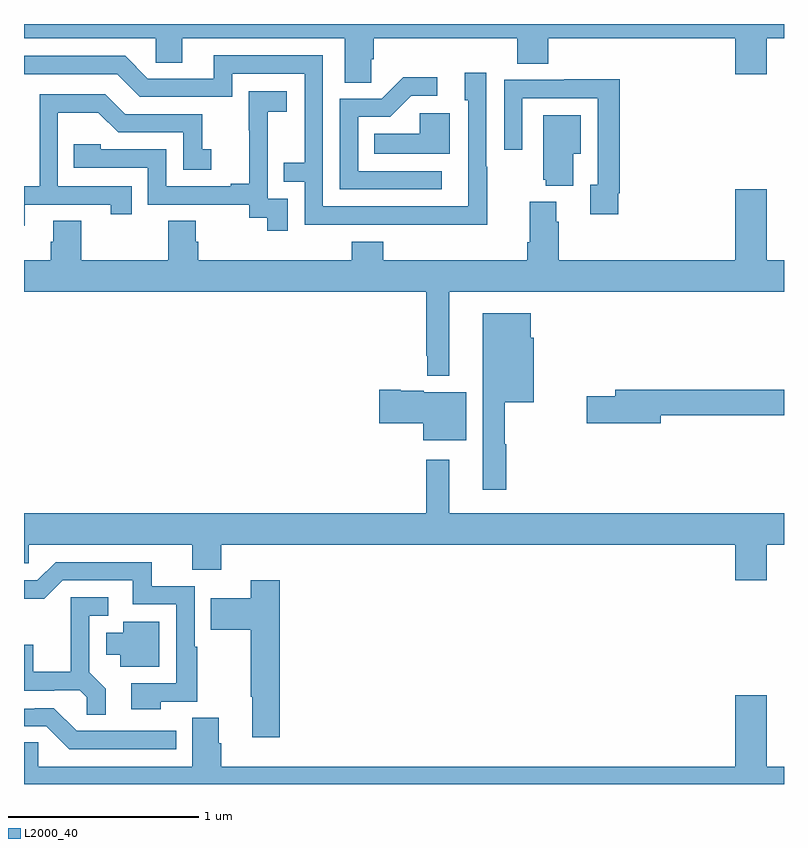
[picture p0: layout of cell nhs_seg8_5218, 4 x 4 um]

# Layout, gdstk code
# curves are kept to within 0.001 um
import gdstk
lib = gdstk.Library(unit=1e-6, precision=1e-09)
def P(c, l, *ps):  # polygons
    for p in ps: c.add(gdstk.Polygon(p, *l))
L2000_40 = (2000, 40)

nhs_seg8_5218 = lib.new_cell('nhs_seg8_5218')
P(nhs_seg8_5218, L2000_40, [(426.828,1125.715),(426.842,1125.715),(426.842,1125.824),(427.595,1125.824),(427.595,1125.691),(427.76,1125.691),(427.76,1125.824),(428.744,1125.824),(428.744,1125.636),(428.908,1125.636),(428.908,1125.824),(429,1125.824),(429,1125.9),(425,1125.9),(425,1125.824),(425.694,1125.824),(425.694,1125.697),(425.833,1125.697),(425.833,1125.824),(426.689,1125.824),(426.689,1125.592),(426.828,1125.592)],
  [(427.437,1125.149),(427.434,1125.149),(427.434,1125.643),(427.319,1125.643),(427.319,1125.498),(427.338,1125.498),(427.337,1124.94),(426.573,1124.94),(426.573,1125.735),(425.999,1125.735),(425.999,1125.612),(425.652,1125.612),(425.532,1125.732),(425,1125.732),(425,1125.636),(425.49,1125.636),(425.61,1125.516),(426.096,1125.516),(426.096,1125.639),(426.477,1125.639),(426.477,1125.17),(426.367,1125.17),(426.367,1125.069),(426.477,1125.069),(426.477,1124.844),(427.437,1124.843)],
  [(427.198,1125.126),(426.759,1125.126),(426.759,1125.411),(426.928,1125.411),(427.039,1125.522),(427.174,1125.522),(427.174,1125.62),(426.995,1125.62),(426.882,1125.507),(426.663,1125.507),(426.663,1125.03),(427.198,1125.03)],
  [(428.128,1125.01),(428.135,1125.01),(428.135,1125.608),(427.843,1125.608),(427.843,1125.606),(427.527,1125.606),(427.527,1125.237),(427.623,1125.237),(427.623,1125.51),(428.019,1125.51),(428.019,1125.054),(427.979,1125.054),(427.979,1124.898),(428.128,1124.898)],
  [(426.387,1124.979),(426.282,1124.979),(426.282,1125.209),(426.284,1125.209),(426.284,1125.437),(426.382,1125.437),(426.382,1125.547),(426.184,1125.547),(426.184,1125.341),(426.185,1125.341),(426.185,1125.058),(426.089,1125.058),(426.089,1125.045),(425.748,1125.045),(425.748,1125.24),(425.403,1125.24),(425.403,1125.267),(425.263,1125.267),(425.263,1125.144),(425.652,1125.144),(425.652,1124.949),(426.186,1124.949),(426.186,1124.881),(426.279,1124.881),(426.279,1124.811),(426.387,1124.811)],
  [(425.005,1124.949),(425.456,1124.949),(425.456,1124.898),(425.567,1124.898),(425.567,1125.045),(425.178,1125.045),(425.178,1125.434),(425.392,1125.434),(425.496,1125.33),(425.838,1125.33),(425.838,1125.132),(425.986,1125.132),(425.986,1125.241),(425.937,1125.241),(425.937,1125.426),(425.533,1125.426),(425.428,1125.531),(425.082,1125.531),(425.082,1125.045),(425,1125.045),(425,1124.838),(425.005,1124.838)],
  [(427.24,1125.43),(427.083,1125.43),(427.083,1125.322),(426.844,1125.322),(426.844,1125.218),(427.24,1125.218)],
  [(427.891,1125.218),(427.93,1125.218),(427.93,1125.421),(427.733,1125.421),(427.733,1125.081),(427.745,1125.081),(427.745,1125.05),(427.891,1125.05)],
  [(429,1124.656),(428.908,1124.656),(428.908,1125.031),(428.744,1125.031),(428.744,1124.656),(427.814,1124.656),(427.814,1124.858),(427.801,1124.858),(427.801,1124.965),(427.661,1124.965),(427.661,1124.752),(427.649,1124.752),(427.649,1124.656),(426.89,1124.656),(426.89,1124.755),(426.725,1124.755),(426.725,1124.656),(425.918,1124.656),(425.918,1124.754),(425.905,1124.754),(425.905,1124.864),(425.758,1124.864),(425.758,1124.656),(425.301,1124.656),(425.301,1124.864),(425.153,1124.864),(425.153,1124.754),(425.141,1124.754),(425.141,1124.656),(425,1124.656),(425,1124.492),(427.116,1124.492),(427.116,1124.155),(427.123,1124.155),(427.123,1124.048),(427.237,1124.048),(427.237,1124.492),(429,1124.492)],
  [(427.537,1123.688),(427.529,1123.688),(427.529,1123.91),(427.684,1123.91),(427.684,1124.25),(427.666,1124.25),(427.666,1124.377),(427.415,1124.377),(427.415,1123.449),(427.537,1123.449)],
  [(428.35,1123.84),(429,1123.84),(429,1123.976),(428.111,1123.976),(428.111,1123.94),(427.962,1123.94),(427.962,1123.798),(428.35,1123.798)],
  [(427.327,1123.963),(427.104,1123.963),(427.104,1123.969),(426.982,1123.969),(426.982,1123.976),(426.87,1123.976),(426.87,1123.798),(427.1,1123.798),(427.1,1123.709),(427.327,1123.709)],
  [(428.908,1123.16),(429,1123.16),(429,1123.324),(427.237,1123.324),(427.237,1123.606),(427.116,1123.606),(427.116,1123.324),(425,1123.324),(425,1123.062),(425.025,1123.062),(425.025,1123.16),(425.885,1123.16),(425.885,1123.027),(426.038,1123.027),(426.038,1123.16),(428.744,1123.16),(428.744,1122.972),(428.908,1122.972)],
  [(425.721,1122.333),(425.911,1122.333),(425.911,1122.623),(425.898,1122.623),(425.898,1122.942),(425.672,1122.942),(425.672,1123.068),(425.166,1123.068),(425.07,1122.972),(425,1122.972),(425,1122.874),(425.107,1122.874),(425.205,1122.972),(425.573,1122.972),(425.573,1122.846),(425.802,1122.846),(425.802,1122.429),(425.565,1122.429),(425.565,1122.293),(425.721,1122.293)],
  [(426.347,1122.973),(426.193,1122.973),(426.193,1122.877),(425.983,1122.877),(425.983,1122.712),(426.193,1122.712),(426.193,1122.359),(426.2,1122.359),(426.2,1122.147),(426.347,1122.147)],
  [(425.429,1122.401),(425.343,1122.487),(425.343,1122.786),(425.443,1122.786),(425.443,1122.882),(425.246,1122.882),(425.246,1122.49),(425.048,1122.49),(425.048,1122.633),(425,1122.633),(425,1122.39),(425.16,1122.39),(425.16,1122.393),(425.294,1122.393),(425.331,1122.356),(425.331,1122.265),(425.429,1122.265)],
  [(425.713,1122.754),(425.522,1122.754),(425.522,1122.697),(425.432,1122.697),(425.432,1122.581),(425.507,1122.581),(425.507,1122.518),(425.713,1122.518)],
  [(429,1121.992),(428.908,1121.992),(428.908,1122.367),(428.744,1122.367),(428.744,1121.992),(426.038,1121.992),(426.038,1122.114),(426.025,1122.114),(426.025,1122.248),(425.885,1122.248),(425.885,1121.992),(425.076,1121.992),(425.076,1122.119),(425,1122.119),(425,1121.9),(429,1121.9)],
  [(425.8,1122.18),(425.277,1122.18),(425.157,1122.3),(425.056,1122.3),(425.056,1122.297),(425,1122.297),(425,1122.204),(425.118,1122.204),(425.238,1122.084),(425.8,1122.084)])

lib.write_gds('nhs_seg8_5218.gds')
